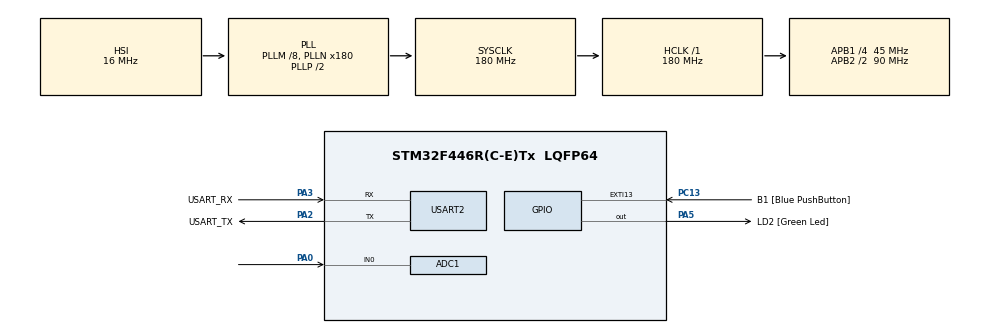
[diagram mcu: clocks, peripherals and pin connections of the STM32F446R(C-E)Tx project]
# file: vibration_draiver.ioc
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ADC1.Channel-0\#ChannelRegularConversion=ADC_CHANNEL_0
ADC1.ExternalTrigConv=ADC_EXTERNALTRIGCONV_T3_CC1
ADC1.NbrOfConversionFlag=1
ADC1.Rank-0\#ChannelRegularConversion=1
ADC1.SamplingTime-0\#ChannelRegularConversion=ADC_SAMPLETIME_3CYCLES
ADC1.master=1
Dma.ADC1.0.Direction=DMA_PERIPH_TO_MEMORY
Dma.ADC1.0.FIFOMode=DMA_FIFOMODE_DISABLE
Dma.ADC1.0.Instance=DMA2_Stream0
Dma.ADC1.0.MemDataAlignment=DMA_MDATAALIGN_HALFWORD
Dma.ADC1.0.MemInc=DMA_MINC_ENABLE
Dma.ADC1.0.Mode=DMA_NORMAL
Dma.ADC1.0.PeriphDataAlignment=DMA_PDATAALIGN_HALFWORD
Dma.ADC1.0.PeriphInc=DMA_PINC_DISABLE
Dma.ADC1.0.Priority=DMA_PRIORITY_LOW
Dma.Request0=ADC1
Dma.Request1=USART2_RX
Dma.USART2_RX.1.Direction=DMA_PERIPH_TO_MEMORY
Dma.USART2_RX.1.FIFOMode=DMA_FIFOMODE_DISABLE
Dma.USART2_RX.1.Instance=DMA1_Stream5
Dma.USART2_RX.1.MemDataAlignment=DMA_MDATAALIGN_BYTE
Dma.USART2_RX.1.MemInc=DMA_MINC_ENABLE
Dma.USART2_RX.1.Mode=DMA_NORMAL
Dma.USART2_RX.1.PeriphDataAlignment=DMA_PDATAALIGN_BYTE
Dma.USART2_RX.1.PeriphInc=DMA_PINC_DISABLE
Dma.USART2_RX.1.Priority=DMA_PRIORITY_LOW
Mcu.Family=STM32F4
Mcu.Name=STM32F446R(C-E)Tx
Mcu.Package=LQFP64
NVIC.DMA1_Stream5_IRQn=true\:0\:0\:false\:false\:true\:false\:true\:true
NVIC.DMA2_Stream0_IRQn=true\:0\:0\:false\:false\:true\:false\:true\:true
NVIC.PriorityGroup=NVIC_PRIORITYGROUP_0
PA0-WKUP.Signal=ADCx_IN0
PA13.GPIO_Label=TMS
PA13.Mode=Serial_Wire
PA13.Signal=SYS_JTMS-SWDIO
PA14.GPIO_Label=TCK
PA14.Mode=Serial_Wire
PA14.Signal=SYS_JTCK-SWCLK
PA2.GPIO_Label=USART_TX
PA2.Mode=Asynchronous
PA2.Signal=USART2_TX
PA3.GPIO_Label=USART_RX
PA3.Mode=Asynchronous
PA3.Signal=USART2_RX
PA5.GPIO_Label=LD2 [Green Led]
PA5.Signal=GPIO_Output
PB3.GPIO_Label=SWO
PB3.Signal=SYS_JTDO-SWO
PC13.GPIO_Label=B1 [Blue PushButton]
PC13.GPIO_ModeDefaultEXTI=GPIO_MODE_IT_FALLING
PC13.Signal=GPXTI13
PC14-OSC32_IN.Mode=LSE-External-Oscillator
PC14-OSC32_IN.Signal=RCC_OSC32_IN
PC15-OSC32_OUT.Mode=LSE-External-Oscillator
PC15-OSC32_OUT.Signal=RCC_OSC32_OUT
PH0-OSC_IN.Mode=HSE-External-Oscillator
PH0-OSC_IN.Signal=RCC_OSC_IN
PH1-OSC_OUT.Mode=HSE-External-Oscillator
PH1-OSC_OUT.Signal=RCC_OSC_OUT
ProjectManager.HeapSize=0x200
ProjectManager.StackSize=0x400
ProjectManager.TargetToolchain=STM32CubeIDE
RCC.48MHZClocksFreq_Value=84000000
RCC.AHBFreq_Value=180000000
RCC.APB1CLKDivider=RCC_HCLK_DIV4
RCC.APB1Freq_Value=45000000
RCC.APB1TimFreq_Value=90000000
RCC.APB2CLKDivider=RCC_HCLK_DIV2
RCC.APB2Freq_Value=90000000
RCC.APB2TimFreq_Value=180000000
RCC.CortexFreq_Value=180000000
RCC.FLatency-AdvancedSettings=FLASH_LATENCY_5
RCC.HCLKFreq_Value=180000000
RCC.HSE_VALUE=8000000
RCC.HSI_VALUE=16000000
RCC.PLLM=8
RCC.PLLN=180
RCC.SYSCLKFreq_VALUE=180000000
RCC.SYSCLKSource=RCC_SYSCLKSOURCE_PLLCLK
RCC.USBFreq_Value=180000000
RCC.VCOOutputFreq_Value=360000000
SH.ADCx_IN0.0=ADC1_IN0,IN0
STMicroelectronics.X-CUBE-ALGOBUILD.1.3.0.LibraryCcDSPOoLibraryJjDSPOoLibrary=true
TIM3.Channel-PWM\ Generation1\ No\ Output=TIM_CHANNEL_1
TIM3.OCFastMode_PWM-PWM\ Generation1\ No\ Output=TIM_OCFAST_ENABLE
TIM3.Period=1000
TIM3.Prescaler=90
TIM3.Pulse-PWM\ Generation1\ No\ Output=1
USART2.VirtualMode=VM_ASYNC
VP_STMicroelectronics.X-CUBE-ALGOBUILD_VS_DSPOoLibraryJjLibrary_1.3.0_1.3.0.Mode=DSPOoLibraryJjLibrary
VP_TIM3_VS_no_output1.Mode=PWM Generation1 No Output
board=NUCLEO-F446RE

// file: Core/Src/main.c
/* USER CODE BEGIN Header */
/**
 ******************************************************************************
 * @file           : main.c
 * @brief          : Main program body
 ******************************************************************************
 * @attention
 *
 * Copyright (c) 2023 STMicroelectronics.
 * All rights reserved.
 *
 * This software is licensed under terms that can be found in the LICENSE file
 * in the root directory of this software component.
 * If no LICENSE file comes with this software, it is provided AS-IS.
 *
 ******************************************************************************
 */
/* USER CODE END Header */
#include "main.h"

/* USER CODE BEGIN Includes */
#define ARM_MATH_CM4
#include "arm_math.h"
#include "senser_FFT.h"
#include <string.h>
#ifdef __GNUC__
#define PUTCHAR_PROTOTYPE int __io_putchar(int ch)
#else
  #define PUTCHAR_PROTOTYPE int fputc(int ch, FILE *f)
#endif /* __GNUC__ */

/* USER CODE END Includes */

/* USER CODE BEGIN PTD */
typedef enum {
	H_IDLE, H_ERROR, H_BUSY, H_END
} H_simple_states;
typedef enum {
	H_P_ERROR, H_P_FIND_F, H_P_FIXED_V
} H_porgram_states;
/* USER CODE END PTD */

ADC_HandleTypeDef hadc1;
DMA_HandleTypeDef hdma_adc1;

TIM_HandleTypeDef htim3;

UART_HandleTypeDef huart2;
DMA_HandleTypeDef hdma_usart2_rx;

void SystemClock_Config(void);
static void MX_GPIO_Init(void);
static void MX_DMA_Init(void);
static void MX_USART2_UART_Init(void);
static void MX_ADC1_Init(void);
static void MX_TIM3_Init(void);
void SET_EBN(uint32_t F, uint32_t V);
/* USER CODE BEGIN 0 */
float32_t amplitude = 20;
uint32_t output = 20;

uint16_t Data_adc[256];
H_simple_states DMA_states = H_IDLE;
H_porgram_states Now_states = H_P_FIND_F;

uint32_t now_frequency = 60;
uint32_t max_value_frequency = 0;

uint16_t Fdata[512] = { 3019.000, 2036.000, 1084.000, 822.000, 730.000,
		1846.000, 2864.000, 2753.000, 2472.000, 1516.000, 897.000, 794.000,
		1150.000, 2384.000, 2633.000, 3222.000, 2031.000, 1309.000, 455.000,
		945.000, 1370.000, 2268.000, 3108.000, 2948.000, 1563.000, 1145.000,
		383.000, 781.000, 1997.000, 2935.000, 2704.000, 2506.000, 1545.000,
		862.000, 945.000, 1370.000, 2508.000, 3203.000, 2840.000, 2236.000,
		1265.000, 468.000, 1097.000, 1586.000, 2581.000, 2762.000, 2422.000,
		1794.000, 987.000, 404.000, 1560.000, 2038.000, 3221.000, 3108.000,
		1897.000, 978.000, 805.000, 664.000, 1989.000, 2930.000, 2883.000,
		2348.000, 1417.000, 618.000, 861.000, 1168.000, 2082.000, 3160.000,
		2985.000, 2344.000, 1006.000, 775.000, 493.000, 1670.000, 2645.000,
		2816.000, 2942.000, 1938.000, 1107.000, 757.000, 1278.000, 2132.000,
		2905.000, 2802.000, 2477.000, 1143.000, 532.000, 481.000, 1240.000,
		2572.000, 3256.000, 2637.000, 1664.000, 1130.000, 408.000, 1076.000,
		2128.000, 3021.000, 2752.000, 2482.000, 1472.000, 475.000, 401.000,
		1260.000, 2088.000, 3228.000, 2778.000, 2091.000, 889.000, 810.000,
		798.000, 1549.000, 2424.000, 2803.000, 2522.000, 1562.000, 530.000,
		765.000, 1260.000, 2368.000, 3071.000, 2788.000, 2090.000, 1464.000,
		350.000, 941.000, 1344.000, 2624.000, 2922.000, 2464.000, 1579.000,
		1010.000, 781.000, 1116.000, 2309.000, 2673.000, 2832.000, 2280.000,
		1102.000, 504.000, 889.000, 1528.000, 2701.000, 2912.000, 2608.000,
		2142.000, 1200.000, 374.000, 839.000, 2170.000, 2532.000, 2834.000,
		2690.000, 1247.000, 462.000, 896.000, 1392.000, 2596.000, 2706.000,
		3097.000, 2216.000, 1275.000, 486.000, 780.000, 1619.000, 2548.000,
		3124.000, 2388.000, 1836.000, 742.000, 876.000, 1002.000, 2457.000,
		2683.000, 2684.000, 1903.000, 1374.000, 373.000, 754.000, 1569.000,
		2628.000, 3016.000, 2721.000, 1964.000, 589.000, 847.000, 888.000,
		2348.000, 2709.000, 3035.000, 2254.000, 1091.000, 494.000, 994.000,
		1324.000, 2744.000, 3144.000, 2932.000, 1892.000, 957.000, 753.000,
		955.000, 2096.000, 3072.000, 2992.000, 2273.000, 1528.000, 502.000,
		936.000, 1309.000, 2194.000, 2786.000, 2544.000, 2166.000, 1187.000,
		800.000, 1192.000, 1762.000, 2996.000, 3296.000, 2313.000, 1438.000,
		895.000, 844.000, 1124.000, 2513.000, 3088.000, 3125.000, 2004.000,
		1398.000, 527.000, 997.000, 1508.000, 2842.000, 3224.000, 2336.000,
		1692.000, 587.000, 804.000, 1372.000, 2344.000, 2818.000, 2742.000,
		1951.000, 1030.000, 590.000, 489.000, 1833.000, 2561.000, 3276.000,
		2981.000, 1958.000, 651.000, 828.000, 1270.000, 1777.000, 3096.000,
		3036.000, 2100.000, 1168.000, 466.000, 864.000, 1623.000, 2173.000,
		2804.000, 3005.000, 1701.000, 801.000, 426.000, 753.000, 1988.000,
		2856.000, 2760.000, 2240.000, 1264.000, 477.000, 418.000, 1397.000,
		2073.000, 2898.000, 2931.000, 2304.000, 1172.000, 440.000, 935.000,
		1747.000, 2829.000, 2897.000, 2500.000, 1676.000, 622.000, 766.000,
		1063.000, 2440.000, 3008.000, 2681.000, 1902.000, 1015.000, 374.000,
		665.000, 1416.000, 2306.000, 3232.000, 2684.000, 1729.000, 1070.000,
		641.000, 977.000, 2248.000, 2582.000, 3202.000, 2272.000, 1061.000,
		707.000, 585.000, 1692.000, 2526.000, 2778.000, 2489.000, 1986.000,
		693.000, 490.000, 757.000, 2050.000, 2657.000, 3156.000, 2701.000,
		1465.000, 763.000, 434.000, 1461.000, 2612.000, 2876.000, 2663.000,
		1791.000, 1264.000, 701.000, 1156.000, 1946.000, 2436.000, 3010.000,
		2294.000, 1329.000, 593.000, 728.000, 1282.000, 2122.000, 2740.000,
		2648.000, 2280.000, 1070.000, 614.000, 1036.000, 1422.000, 2880.000,
		3170.000, 2424.000, 1458.000, 957.000, 700.000, 1243.000, 2296.000,
		3164.000, 2826.000, 2496.000, 1536.000, 659.000, 763.000, 1280.000,
		2292.000, 3101.000, 2998.000, 1741.000, 1105.000, 705.000, 938.000,
		1723.000, 2870.000, 3020.000, 2416.000, 1318.000, 928.000, 427.000,
		1181.000, 2582.000, 2748.000, 2576.000, 2008.000, 1232.000, 578.000,
		816.000, 1793.000, 2857.000, 2890.000, 2388.000, 1826.000, 890.000,
		807.000, 1550.000, 2528.000, 2802.000, 2696.000, 1920.000, 882.000,
		634.000, 736.000, 1739.000, 2811.000, 2906.000, 2629.000, 1537.000,
		944.000, 884.000, 1412.000, 2363.000, 3109.000, 3194.000, 2205.000,
		1238.000, 881.000, 970.000, 1844.000, 2408.000, 3112.000, 2616.000,
		2066.000, 844.000, 432.000, 1344.000, 2034.000, 3076.000, 2856.000,
		2364.000, 1146.000, 517.000, 882.000, 1152.000, 2702.000, 2732.000,
		2538.000, 2029.000, 997.000, 795.000, 971.000, 1724.000, 2873.000,
		2800.000, 2198.000, 1540.000, 464.000, 901.000, 1220.000, 2144.000,
		2707.000, 2774.000, 2326.000, 1263.000, 793.000, 613.000, 1494.000,
		2903.000, 3302.000, 2421.000, 1922.000, 947.000, 728.000, 928.000,
		2180.000, 2921.000, 3136.000, 1941.000, 1024.000, 429.000, 1010.000,
		1885.000, 2420.000, 2994.000, 2620.000, 1590.000, 1149.000, 584.000,
		1329.000, 1807.000, 2818.000, 3106.000, 2090.000, 1120.000, 694.000,
		936.000, 1574.000, 2398.000, 3284.000, 2752.000, 1952.000, 929.000,
		335.000, 923.000, 2194.000, 2742.000, 3152.000, 2538.000, 1287.000,
		916.000, 829.000, 1103.000, 2389.000, 3077.000, 3108.000, 1761.000,
		1060.000, 824.000, 757.000 };
/* USER CODE END 0 */

int main(void) {

	/* MCU Configuration--------------------------------------------------------*/

	/* Reset of all peripherals, Initializes the Flash interface and the Systick. */
	HAL_Init();

	/* USER CODE BEGIN Init */
	float32_t max_Value;
	uint32_t max_Index;
	float32_t value_Buffer;
	/* USER CODE END Init */

	/* Configure the system clock */
	SystemClock_Config();

	/* Initialize all configured peripherals */
	MX_GPIO_Init();
	MX_DMA_Init();
	MX_USART2_UART_Init();
	MX_ADC1_Init();
	MX_TIM3_Init();
	/* USER CODE BEGIN 2 */
	printf("START\r\n");
	//HAL_ADC_Start_DMA(&hadc1, (uint32_t*) Data_adc, 256);
	//HAL_TIM_PWM_Start(&htim3, TIM_CHANNEL_1);

	//Fdata
	DMA_states = H_IDLE;
	FFT_(Fdata, &value_Buffer, &max_Index);
	printf("%f, %d\r\n", value_Buffer, (int) (max_Index));
	/* USER CODE END 2 */

	/* Infinite loop */
	/* USER CODE BEGIN WHILE */
	while (1) {
		switch (Now_states) {
		case H_P_FIND_F:
			if (DMA_states == H_END) {
				DMA_states = H_IDLE;
				FFT_(Data_adc, &value_Buffer, &max_Index);
				printf("%f, %d\r\n", value_Buffer, (int) (max_Index));

				if (value_Buffer > max_Value) { //比較最大的電壓值
					max_Value = value_Buffer;
					max_value_frequency = now_frequency;
				}

				if (now_frequency == 400) {		//掃頻完成，匯入理想頻率
					Now_states = H_P_FIXED_V;
					now_frequency = max_value_frequency;
					SET_EBN(now_frequency, 14);
					continue;
				}

				now_frequency = now_frequency + 5;		//
				SET_EBN(now_frequency, 14);
				while (!HAL_GPIO_ReadPin(B1_GPIO_Port, B1_Pin)) {
					printf("START\r\n");
					HAL_Delay(100);
				}
				HAL_ADC_Start_DMA(&hadc1, (uint32_t*) Data_adc, 256);
				HAL_TIM_PWM_Start(&htim3, TIM_CHANNEL_1);

			}
			break;
		case H_P_FIXED_V:
			if (DMA_states == H_END) {
				FFT_(Data_adc, &value_Buffer, &max_Index);
				if (value_Buffer > amplitude)
					output++;
				if (value_Buffer < amplitude)
					output--;
				if (output < 20)
					output = 20;
				if (output > 80)
					output = 80;
				SET_EBN(now_frequency, output);		//設定震幅
			}
			break;

		default:
			break;
		}

		/* USER CODE END WHILE */

	}
}

void SystemClock_Config(void) {
	RCC_OscInitTypeDef RCC_OscInitStruct = { 0 };
	RCC_ClkInitTypeDef RCC_ClkInitStruct = { 0 };

	/** Configure the main internal regulator output voltage
	 */
	__HAL_RCC_PWR_CLK_ENABLE();
	__HAL_PWR_VOLTAGESCALING_CONFIG(PWR_REGULATOR_VOLTAGE_SCALE1);

	/** Initializes the RCC Oscillators according to the specified parameters
	 * in the RCC_OscInitTypeDef structure.
	 */
	RCC_OscInitStruct.OscillatorType = RCC_OSCILLATORTYPE_HSI;
	RCC_OscInitStruct.HSIState = RCC_HSI_ON;
	RCC_OscInitStruct.HSICalibrationValue = RCC_HSICALIBRATION_DEFAULT;
	RCC_OscInitStruct.PLL.PLLState = RCC_PLL_ON;
	RCC_OscInitStruct.PLL.PLLSource = RCC_PLLSOURCE_HSI;
	RCC_OscInitStruct.PLL.PLLM = 8;
	RCC_OscInitStruct.PLL.PLLN = 180;
	RCC_OscInitStruct.PLL.PLLP = RCC_PLLP_DIV2;
	RCC_OscInitStruct.PLL.PLLQ = 2;
	RCC_OscInitStruct.PLL.PLLR = 2;
	if (HAL_RCC_OscConfig(&RCC_OscInitStruct) != HAL_OK) {
		Error_Handler();
	}

	/** Activate the Over-Drive mode
	 */
	if (HAL_PWREx_EnableOverDrive() != HAL_OK) {
		Error_Handler();
	}

	/** Initializes the CPU, AHB and APB buses clocks
	 */
	RCC_ClkInitStruct.ClockType = RCC_CLOCKTYPE_HCLK | RCC_CLOCKTYPE_SYSCLK
			| RCC_CLOCKTYPE_PCLK1 | RCC_CLOCKTYPE_PCLK2;
	RCC_ClkInitStruct.SYSCLKSource = RCC_SYSCLKSOURCE_PLLCLK;
	RCC_ClkInitStruct.AHBCLKDivider = RCC_SYSCLK_DIV1;
	RCC_ClkInitStruct.APB1CLKDivider = RCC_HCLK_DIV4;
	RCC_ClkInitStruct.APB2CLKDivider = RCC_HCLK_DIV2;

	if (HAL_RCC_ClockConfig(&RCC_ClkInitStruct, FLASH_LATENCY_5) != HAL_OK) {
		Error_Handler();
	}
}

static void MX_ADC1_Init(void) {

	ADC_ChannelConfTypeDef sConfig = { 0 };

	/** Configure the global features of the ADC (Clock, Resolution, Data Alignment and number of conversion)
	 */
	hadc1.Instance = ADC1;
	hadc1.Init.ClockPrescaler = ADC_CLOCK_SYNC_PCLK_DIV4;
	hadc1.Init.Resolution = ADC_RESOLUTION_12B;
	hadc1.Init.ScanConvMode = DISABLE;
	hadc1.Init.ContinuousConvMode = DISABLE;
	hadc1.Init.DiscontinuousConvMode = DISABLE;
	hadc1.Init.ExternalTrigConvEdge = ADC_EXTERNALTRIGCONVEDGE_RISING;
	hadc1.Init.ExternalTrigConv = ADC_EXTERNALTRIGCONV_T3_CC1;
	hadc1.Init.DataAlign = ADC_DATAALIGN_RIGHT;
	hadc1.Init.NbrOfConversion = 1;
	hadc1.Init.DMAContinuousRequests = DISABLE;
	hadc1.Init.EOCSelection = ADC_EOC_SINGLE_CONV;
	if (HAL_ADC_Init(&hadc1) != HAL_OK) {
		Error_Handler();
	}

	/** Configure for the selected ADC regular channel its corresponding rank in the sequencer and its sample time.
	 */
	sConfig.Channel = ADC_CHANNEL_0;
	sConfig.Rank = 1;
	sConfig.SamplingTime = ADC_SAMPLETIME_3CYCLES;
	if (HAL_ADC_ConfigChannel(&hadc1, &sConfig) != HAL_OK) {
		Error_Handler();
	}

}

static void MX_TIM3_Init(void) {

	TIM_MasterConfigTypeDef sMasterConfig = { 0 };
	TIM_OC_InitTypeDef sConfigOC = { 0 };

	htim3.Instance = TIM3;
	htim3.Init.Prescaler = 90;
	htim3.Init.CounterMode = TIM_COUNTERMODE_UP;
	htim3.Init.Period = 1000;
	htim3.Init.ClockDivision = TIM_CLOCKDIVISION_DIV1;
	htim3.Init.AutoReloadPreload = TIM_AUTORELOAD_PRELOAD_DISABLE;
	if (HAL_TIM_PWM_Init(&htim3) != HAL_OK) {
		Error_Handler();
	}
	sMasterConfig.MasterOutputTrigger = TIM_TRGO_RESET;
	sMasterConfig.MasterSlaveMode = TIM_MASTERSLAVEMODE_DISABLE;
	if (HAL_TIMEx_MasterConfigSynchronization(&htim3, &sMasterConfig)
			!= HAL_OK) {
		Error_Handler();
	}
	sConfigOC.OCMode = TIM_OCMODE_PWM1;
	sConfigOC.Pulse = 1;
	sConfigOC.OCPolarity = TIM_OCPOLARITY_HIGH;
	sConfigOC.OCFastMode = TIM_OCFAST_ENABLE;
	if (HAL_TIM_PWM_ConfigChannel(&htim3, &sConfigOC, TIM_CHANNEL_1)
			!= HAL_OK) {
		Error_Handler();
	}

}

static void MX_USART2_UART_Init(void) {

	huart2.Instance = USART2;
	huart2.Init.BaudRate = 115200;
	huart2.Init.WordLength = UART_WORDLENGTH_8B;
	huart2.Init.StopBits = UART_STOPBITS_1;
	huart2.Init.Parity = UART_PARITY_NONE;
	huart2.Init.Mode = UART_MODE_TX_RX;
	huart2.Init.HwFlowCtl = UART_HWCONTROL_NONE;
	huart2.Init.OverSampling = UART_OVERSAMPLING_16;
	if (HAL_UART_Init(&huart2) != HAL_OK) {
		Error_Handler();
	}

}

static void MX_DMA_Init(void) {

	/* DMA controller clock enable */
	__HAL_RCC_DMA2_CLK_ENABLE();
	__HAL_RCC_DMA1_CLK_ENABLE();

	/* DMA interrupt init */
	/* DMA1_Stream5_IRQn interrupt configuration */
	HAL_NVIC_SetPriority(DMA1_Stream5_IRQn, 0, 0);
	HAL_NVIC_EnableIRQ(DMA1_Stream5_IRQn);
	/* DMA2_Stream0_IRQn interrupt configuration */
	HAL_NVIC_SetPriority(DMA2_Stream0_IRQn, 0, 0);
	HAL_NVIC_EnableIRQ(DMA2_Stream0_IRQn);

}

static void MX_GPIO_Init(void) {
	GPIO_InitTypeDef GPIO_InitStruct = { 0 };

	/* GPIO Ports Clock Enable */
	__HAL_RCC_GPIOC_CLK_ENABLE();
	__HAL_RCC_GPIOH_CLK_ENABLE();
	__HAL_RCC_GPIOA_CLK_ENABLE();
	__HAL_RCC_GPIOB_CLK_ENABLE();

	/*Configure GPIO pin Output Level */
	HAL_GPIO_WritePin(LD2_GPIO_Port, LD2_Pin, GPIO_PIN_RESET);

	/*Configure GPIO pin : B1_Pin */
	GPIO_InitStruct.Pin = B1_Pin;
	GPIO_InitStruct.Mode = GPIO_MODE_IT_FALLING;
	GPIO_InitStruct.Pull = GPIO_NOPULL;
	HAL_GPIO_Init(B1_GPIO_Port, &GPIO_InitStruct);

	/*Configure GPIO pin : LD2_Pin */
	GPIO_InitStruct.Pin = LD2_Pin;
	GPIO_InitStruct.Mode = GPIO_MODE_OUTPUT_PP;
	GPIO_InitStruct.Pull = GPIO_NOPULL;
	GPIO_InitStruct.Speed = GPIO_SPEED_FREQ_LOW;
	HAL_GPIO_Init(LD2_GPIO_Port, &GPIO_InitStruct);

}

/* USER CODE BEGIN 4 */
void SET_EBN(uint32_t F, uint32_t V) {
	printf("set V: %d F: %d\r\n", (int) F, (int) V);
}
void HAL_ADC_ConvCpltCallback(ADC_HandleTypeDef *hadc) {
	printf("DMA END\r\n");
	DMA_states = H_END;
}
PUTCHAR_PROTOTYPE //for printf used
{
	HAL_UART_Transmit(&huart2, (uint8_t*) &ch, 1, 0xFFFF);
	return ch;
}
/* USER CODE END 4 */

void Error_Handler(void) {
	__disable_irq();
	while (1) {
	}
}
